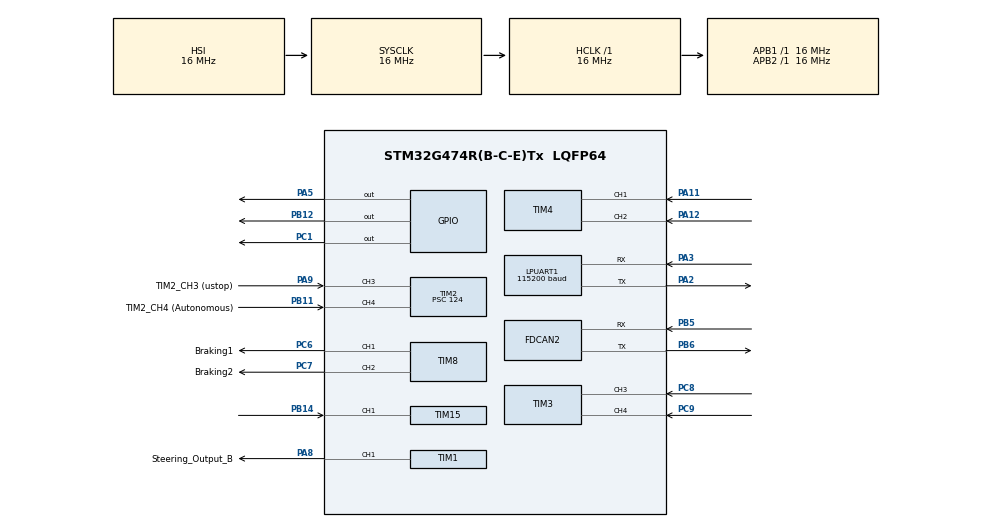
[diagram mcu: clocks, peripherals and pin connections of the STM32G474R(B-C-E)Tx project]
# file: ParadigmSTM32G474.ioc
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FDCAN2.CalculateBaudRateNominal=250000
FDCAN2.CalculateTimeBitNominal=4000
FDCAN2.CalculateTimeQuantumNominal=250.0
FDCAN2.NominalPrescaler=4
FDCAN2.NominalTimeSeg1=13
FDCAN2.NominalTimeSeg2=2
LPUART1.BaudRate=115200
Mcu.Family=STM32G4
Mcu.Name=STM32G474R(B-C-E)Tx
Mcu.Package=LQFP64
NVIC.FDCAN2_IT0_IRQn=true\:0\:0\:false\:false\:true\:true\:true\:true
NVIC.FDCAN2_IT1_IRQn=true\:0\:0\:false\:false\:true\:true\:true\:true
NVIC.LPUART1_IRQn=true\:0\:0\:false\:false\:true\:true\:true\:true
NVIC.PriorityGroup=NVIC_PRIORITYGROUP_4
NVIC.TIM2_IRQn=true\:0\:0\:false\:false\:true\:true\:true\:true
PA11.Signal=S_TIM4_CH1
PA12.Signal=S_TIM4_CH2
PA13.Mode=Serial_Wire
PA13.Signal=SYS_JTMS-SWDIO
PA14.Mode=Serial_Wire
PA14.Signal=SYS_JTCK-SWCLK
PA2.Mode=Asynchronous
PA2.Signal=LPUART1_TX
PA3.Mode=Asynchronous
PA3.Signal=LPUART1_RX
PA5.Signal=GPIO_Output
PA8.GPIO_Label=Steering_Output_B
PA8.Signal=S_TIM1_CH1
PA9.GPIO_Label=TIM2_CH3 (ustop)
PA9.Signal=S_TIM2_CH3
PB11.GPIO_Label=TIM2_CH4 (Autonomous)
PB11.Signal=S_TIM2_CH4
PB12.Signal=GPIO_Output
PB13.Signal=SPI2_SCK
PB14.Signal=S_TIM15_CH1
PB5.Mode=FDCAN_Activate
PB5.Signal=FDCAN2_RX
PB6.Mode=FDCAN_Activate
PB6.Signal=FDCAN2_TX
PC1.Signal=GPIO_Output
PC6.GPIO_Label=Braking1
PC6.Signal=S_TIM8_CH1
PC7.GPIO_Label=Braking2
PC7.Signal=S_TIM8_CH2
PC8.Signal=S_TIM3_CH3
PC9.Signal=S_TIM3_CH4
PF0-OSC_IN.Mode=HSE-External-Oscillator
PF0-OSC_IN.Signal=RCC_OSC_IN
PF1-OSC_OUT.Mode=HSE-External-Oscillator
PF1-OSC_OUT.Signal=RCC_OSC_OUT
ProjectManager.HeapSize=0x200
ProjectManager.StackSize=0x400
ProjectManager.TargetToolchain=STM32CubeIDE
RCC.AHBFreq_Value=16000000
RCC.APB1Freq_Value=16000000
RCC.APB1TimFreq_Value=16000000
RCC.APB2Freq_Value=16000000
RCC.APB2TimFreq_Value=16000000
RCC.CortexFreq_Value=16000000
RCC.EXTERNAL_CLOCK_VALUE=12288000
RCC.HCLKFreq_Value=16000000
RCC.HSE_VALUE=16000000
RCC.HSI48_VALUE=48000000
RCC.HSI_VALUE=16000000
RCC.LSE_VALUE=32768
RCC.SYSCLKFreq_VALUE=16000000
RCC.USBFreq_Value=64000000
RCC.VCOOutputFreq_Value=128000000
SH.S_TIM15_CH1.0=TIM15_CH1,Input_Capture1_from_TI1
SH.S_TIM1_CH1.0=TIM1_CH1,PWM Generation1 CH1
SH.S_TIM2_CH3.0=TIM2_CH3,Input_Capture3_from_TI3
SH.S_TIM2_CH4.0=TIM2_CH4,Input_Capture4_from_TI4
SH.S_TIM3_CH3.0=TIM3_CH3,Input_Capture3_from_TI3
SH.S_TIM3_CH4.0=TIM3_CH4,Input_Capture4_from_TI4
SH.S_TIM4_CH1.0=TIM4_CH1,Input_Capture1_from_TI1
SH.S_TIM4_CH2.0=TIM4_CH2,Input_Capture2_from_TI2
SH.S_TIM8_CH1.0=TIM8_CH1,PWM Generation1 CH1
SH.S_TIM8_CH2.0=TIM8_CH2,PWM Generation2 CH2
TIM1.Channel-PWM\ Generation1\ CH1=TIM_CHANNEL_1
TIM1.Prescaler=15
TIM15.Channel-Input_Capture1_from_TI1=TIM_CHANNEL_1
TIM2.Channel-Input_Capture3_from_TI3=TIM_CHANNEL_3
TIM2.Channel-Input_Capture4_from_TI4=TIM_CHANNEL_4
TIM2.PeriodNoDither=255
TIM2.Prescaler=124
TIM3.Channel-Input_Capture3_from_TI3=TIM_CHANNEL_3
TIM3.Channel-Input_Capture4_from_TI4=TIM_CHANNEL_4
TIM4.Channel-Input_Capture1_from_TI1=TIM_CHANNEL_1
TIM4.Channel-Input_Capture2_from_TI2=TIM_CHANNEL_2
TIM8.Channel-PWM\ Generation1\ CH1=TIM_CHANNEL_1
TIM8.Channel-PWM\ Generation2\ CH2=TIM_CHANNEL_2
VP_SYS_VS_DBSignals.Mode=DisableDeadBatterySignals
VP_TIM1_VS_ClockSourceINT.Mode=Internal
VP_TIM2_VS_ClockSourceINT.Mode=Internal
VP_TIM3_VS_ClockSourceINT.Mode=Internal
VP_TIM4_VS_ClockSourceINT.Mode=Internal
VP_TIM8_VS_ClockSourceINT.Mode=Internal
board=custom

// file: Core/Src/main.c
/* USER CODE BEGIN Header */
/**
  ******************************************************************************
  * @file           : main.c
  * @brief          : Main program body
  ******************************************************************************
  * @attention
  *
  * Copyright (c) 2025 STMicroelectronics.
  * All rights reserved.
  *
  * This software is licensed under terms that can be found in the LICENSE file
  * in the root directory of this software component.
  * If no LICENSE file comes with this software, it is provided AS-IS.
  *
  ******************************************************************************
  */
/* USER CODE END Header */
#include "main.h"

/* USER CODE BEGIN Includes */
#include "uart_test.h"
#include "drive_can.h"
#include "steering.h"
#include "jetson_uart.h"
#include "stdbool.h"
#include "braking.h"
/* USER CODE END Includes */

/* USER CODE BEGIN PM */
#define MAX_RPM 2000

#define MODE_SWITCH_US 1500
/* USER CODE END PM */

FDCAN_HandleTypeDef hfdcan2;

UART_HandleTypeDef hlpuart1;

TIM_HandleTypeDef htim1;
TIM_HandleTypeDef htim2;
TIM_HandleTypeDef htim3;
TIM_HandleTypeDef htim4;
TIM_HandleTypeDef htim8;
TIM_HandleTypeDef htim15;

/* USER CODE BEGIN PV */
/* Latest measured pulse widths — updated in input capture callback */
static volatile uint32_t g_throttle_us    = 1500;  // default = centre
static volatile uint32_t g_estop_us       = 2000;  // default = inactive
static volatile uint32_t g_ustop_us       = 2000; // default = inactive
static volatile uint32_t g_last_pulse_ms  = 0;     // for signal-lost detection
static volatile uint32_t g_mode_us        = 2000;

static volatile uint16_t active_throttle_us = 1500;
static volatile uint16_t active_steering_us = 1500;

/* Rise-edge timestamps and fall-edge flags for each channel */
static volatile uint32_t g_ch3_rise = 0;
static volatile uint32_t g_ch4_rise = 0;
static volatile uint8_t  g_ch3_fall = 0;
static volatile uint8_t  g_ch4_fall = 0;
static volatile uint8_t  g_tim2_ch4_fall = 0;
static volatile uint32_t  g_tim2_ch4_rise = 0;

static volatile uint8_t  g_tim2_ch3_fall = 0;
static volatile uint32_t  g_tim2_ch3_rise = 0;

static int16_t g_target_current = 0;
static int16_t g_target_speed = 0;
static DriveCommand_t g_command = CMD_HALTED;

static volatile uint32_t test_pwm = 0;

extern DriveController_t drive;

static volatile uint32_t loop_count = 0;

static volatile uint32_t tim15_irq_count = 0;

static uint8_t jetson_rx_byte = 0;
static volatile uint16_t g_autonomous_throttle_us = 1500;
static volatile uint16_t g_autonomous_steering_us = 1500;

extern volatile uint32_t rx_frame_count;

static volatile int autonomous;
/* USER CODE END PV */

void SystemClock_Config(void);
static void MX_GPIO_Init(void);
static void MX_FDCAN2_Init(void);
static void MX_TIM1_Init(void);
static void MX_TIM2_Init(void);
static void MX_TIM4_Init(void);
static void MX_TIM3_Init(void);
static void MX_TIM15_Init(void);
static void MX_LPUART1_UART_Init(void);
static void MX_TIM8_Init(void);
/* USER CODE BEGIN PFP */
static bool UpdateJetsonCommands(void);
/* USER CODE END PFP */

int main(void)
{

  /* USER CODE BEGIN 1 */
  SCB->VTOR = 0x08000000; // Remaps vector table to flash so STM doesn't get stuck in loop
  /* USER CODE END 1 */

  /* MCU Configuration--------------------------------------------------------*/

  /* Reset of all peripherals, Initializes the Flash interface and the Systick. */
  HAL_Init();

  /* Configure the system clock */
  SystemClock_Config();

  /* Initialize all configured peripherals */
  MX_GPIO_Init();
  MX_FDCAN2_Init();
  MX_TIM1_Init();
  MX_TIM2_Init();
  MX_TIM4_Init();
  MX_TIM3_Init();
  MX_TIM15_Init();
  MX_LPUART1_UART_Init();
  MX_TIM8_Init();
  /* USER CODE BEGIN 2 */
  //initUART();

  if (!Drive_Init(&hfdcan2, MCU_ADDRESS_DEFAULT)) {
	 Error_Handler();
  }

  HAL_TIM_IC_Start_IT(&htim3, TIM_CHANNEL_3); // throttle
  HAL_TIM_IC_Start_IT(&htim3, TIM_CHANNEL_4); // e-stop
  HAL_TIM_IC_Start_IT(&htim2, TIM_CHANNEL_4); // RC/auto switch
  HAL_TIM_IC_Start_IT(&htim2, TIM_CHANNEL_3); // u-stop
  HAL_TIM_PWM_Start(&htim8, TIM_CHANNEL_1); // brake 1
  HAL_TIM_PWM_Start(&htim8, TIM_CHANNEL_2); // brake 2

  Steering_Init(&htim1, &htim15);

  Jetson_Init();
  HAL_UART_Receive_IT(&hlpuart1, &jetson_rx_byte, 1);

  /* USER CODE END 2 */

  /* Infinite loop */
  /* USER CODE BEGIN WHILE */
  while (1) {

	  if (hfdcan2.Instance->PSR & 0x80) {  // check bus-off bit
		  HAL_FDCAN_Stop(&hfdcan2);
		  HAL_Delay(200);
		  Drive_Init(&hfdcan2, MCU_ADDRESS_DEFAULT);
	  }

	  loop_count++;

	  bool signal_ok = (g_last_pulse_ms > 0) && (HAL_GetTick() - g_last_pulse_ms < 100);
	  bool estopped  = !signal_ok || (g_estop_us > 1500);
	  bool ustopped = g_ustop_us > 1600;
	  HAL_GPIO_WritePin(GPIOB, GPIO_PIN_12, GPIO_PIN_RESET);

	  //bool estopped = false;
	  //(void)g_estop_us; /* suppress unused-variable warning if signal_ok check is disabled */

	  /*bool autonomous_mode = true;

	  bool jetson_ok = UpdateJetsonCommands();

	  uint16_t active_throttle_us = 1500;
	  uint16_t active_steering_us  = 1500;

	  if (autonomous_mode && jetson_ok)
	  {
	      active_throttle_us = g_autonomous_throttle_us;
	      active_steering_us = g_autonomous_steering_us;
	  }
	  else
	  {
	      active_throttle_us = g_throttle_us;
	  }*/

	  //  E-stop or signal lost
	  if (estopped || Drive_GetState() == DRIVE_STATE_COMM_FAILED || Drive_HasError()) {
		  g_target_speed   = DRIVE_ENCODE_SPEED(0.0f);
		  g_target_current = DRIVE_ENCODE_CURRENT(0.0f);
		  g_command = CMD_HALTED;
		  HAL_GPIO_WritePin(GPIOB, GPIO_PIN_12, GPIO_PIN_SET);

		  Drive_Tick(g_target_current, g_target_speed, g_command);
		  Steering_SetTargetUs(1500);
		  Steering_Tick();
		  test_pwm = Steering_GetPulseWidth();
		  Servo_WriteMicroseconds(1, SERVO_APPLIED_US);
		  Servo_WriteMicroseconds(2, SERVO_APPLIED_US);
		  HAL_Delay(10);
		  continue;
	  }

	  // U-stop
	  if (ustopped) {
		  g_target_speed   = DRIVE_ENCODE_SPEED(0.0f);
		  g_target_current = DRIVE_ENCODE_CURRENT(0.0f);
		  g_command = CMD_HALTED;

		  Drive_Tick(g_target_current, g_target_speed, g_command);
		  Steering_SetTargetUs(1500);
		  Steering_Tick();
		  test_pwm = Steering_GetPulseWidth();
		  Servo_WriteMicroseconds(1, SERVO_APPLIED_US);
		  Servo_WriteMicroseconds(2, SERVO_APPLIED_US);
		  HAL_Delay(10);
		  continue;
	  }

	  // Autonomous operation
	  if (g_mode_us > MODE_SWITCH_US) {
		  autonomous = 1;
		  bool jetson_ok = UpdateJetsonCommands();
			  if (jetson_ok) {
				  active_throttle_us = g_autonomous_throttle_us;
				  active_steering_us = g_autonomous_steering_us;
				  Steering_SetTargetUs(active_steering_us);
			  } else {
				  active_throttle_us = 1500;
				  active_steering_us = g_autonomous_steering_us;
				  Steering_SetTargetUs(active_steering_us);
			  }
	  } else {
		  autonomous = 0;
		  active_throttle_us = (uint16_t)g_throttle_us;
	  }

	  /*bool autonomous_mode = (g_mode_us > MODE_SWITCH_LOW_US);

	  if (autonomous_mode) {
		  bool jetson_ok = UpdateJetsonCommands();
		  if (jetson_ok) {
			  active_throttle_us = g_autonomous_throttle_us;
			  active_steering_us = g_autonomous_steering_us;
		  }
	  } else {
		  active_throttle_us = (uint16_t)g_throttle_us;
		  active_steering_us = Steering_GetPulseWidth();
	  }*/

	  // Normal operation
	  if (Drive_GetState() == DRIVE_STATE_OPERATIONAL) {

		  // Map 1000-2000µs to -1000..+1000 rpm with ±50µs deadband
		  int32_t deviation = (int32_t)active_throttle_us - 1500;
		  int32_t target = 0;

		  if (deviation > 100)
			  target = ((deviation - 100) * MAX_RPM) / 400;
		  else if (deviation < -100)
			  target = ((deviation + 100) * MAX_RPM) / 400;

		  if (target >  MAX_RPM) { target =  MAX_RPM; }
		  if (target < -MAX_RPM) { target = -MAX_RPM; }

		  if (target >= 0) {
			  g_target_speed   = DRIVE_ENCODE_SPEED((float)target);
			  g_target_current = DRIVE_ENCODE_CURRENT(80.0f);
		  } else {
			  g_target_speed   = DRIVE_ENCODE_SPEED((float)target);
			  g_target_current = DRIVE_ENCODE_CURRENT(-80.0f);
		  }

		  g_command = CMD_RUNNING | CMD_SPEED_MODE;
	  }

	  Drive_Tick(g_target_current, g_target_speed, g_command);

	  //Steering
	  /*if (autonomous == 1) {
		  Steering_SetTargetUs(active_steering_us);
	  }*/
	  Steering_Tick();
	  test_pwm = Steering_GetPulseWidth();

	  Servo_WriteMicroseconds(1, SERVO_UPRIGHT_US);
	  Servo_WriteMicroseconds(2, SERVO_UPRIGHT_US);

	  HAL_Delay(10);

  }
    /* USER CODE END WHILE */

}

void SystemClock_Config(void)
{
  RCC_OscInitTypeDef RCC_OscInitStruct = {0};
  RCC_ClkInitTypeDef RCC_ClkInitStruct = {0};

  /** Configure the main internal regulator output voltage
  */
  HAL_PWREx_ControlVoltageScaling(PWR_REGULATOR_VOLTAGE_SCALE1);

  /** Initializes the RCC Oscillators according to the specified parameters
  * in the RCC_OscInitTypeDef structure.
  */
  RCC_OscInitStruct.OscillatorType = RCC_OSCILLATORTYPE_HSI;
  RCC_OscInitStruct.HSIState = RCC_HSI_ON;
  RCC_OscInitStruct.HSICalibrationValue = RCC_HSICALIBRATION_DEFAULT;
  RCC_OscInitStruct.PLL.PLLState = RCC_PLL_NONE;
  if (HAL_RCC_OscConfig(&RCC_OscInitStruct) != HAL_OK)
  {
    Error_Handler();
  }

  /** Initializes the CPU, AHB and APB buses clocks
  */
  RCC_ClkInitStruct.ClockType = RCC_CLOCKTYPE_HCLK|RCC_CLOCKTYPE_SYSCLK
                              |RCC_CLOCKTYPE_PCLK1|RCC_CLOCKTYPE_PCLK2;
  RCC_ClkInitStruct.SYSCLKSource = RCC_SYSCLKSOURCE_HSI;
  RCC_ClkInitStruct.AHBCLKDivider = RCC_SYSCLK_DIV1;
  RCC_ClkInitStruct.APB1CLKDivider = RCC_HCLK_DIV1;
  RCC_ClkInitStruct.APB2CLKDivider = RCC_HCLK_DIV1;

  if (HAL_RCC_ClockConfig(&RCC_ClkInitStruct, FLASH_LATENCY_0) != HAL_OK)
  {
    Error_Handler();
  }
}

static void MX_FDCAN2_Init(void)
{

  hfdcan2.Instance = FDCAN2;
  hfdcan2.Init.ClockDivider = FDCAN_CLOCK_DIV1;
  hfdcan2.Init.FrameFormat = FDCAN_FRAME_CLASSIC;
  hfdcan2.Init.Mode = FDCAN_MODE_NORMAL;
  hfdcan2.Init.AutoRetransmission = DISABLE;
  hfdcan2.Init.TransmitPause = DISABLE;
  hfdcan2.Init.ProtocolException = DISABLE;
  hfdcan2.Init.NominalPrescaler = 4;
  hfdcan2.Init.NominalSyncJumpWidth = 1;
  hfdcan2.Init.NominalTimeSeg1 = 13;
  hfdcan2.Init.NominalTimeSeg2 = 2;
  hfdcan2.Init.DataPrescaler = 1;
  hfdcan2.Init.DataSyncJumpWidth = 1;
  hfdcan2.Init.DataTimeSeg1 = 1;
  hfdcan2.Init.DataTimeSeg2 = 1;
  hfdcan2.Init.StdFiltersNbr = 0;
  hfdcan2.Init.ExtFiltersNbr = 0;
  hfdcan2.Init.TxFifoQueueMode = FDCAN_TX_FIFO_OPERATION;
  if (HAL_FDCAN_Init(&hfdcan2) != HAL_OK)
  {
    Error_Handler();
  }

}

static void MX_LPUART1_UART_Init(void)
{

  hlpuart1.Instance = LPUART1;
  hlpuart1.Init.BaudRate = 115200;
  hlpuart1.Init.WordLength = UART_WORDLENGTH_8B;
  hlpuart1.Init.StopBits = UART_STOPBITS_1;
  hlpuart1.Init.Parity = UART_PARITY_NONE;
  hlpuart1.Init.Mode = UART_MODE_TX_RX;
  hlpuart1.Init.HwFlowCtl = UART_HWCONTROL_NONE;
  hlpuart1.Init.OneBitSampling = UART_ONE_BIT_SAMPLE_DISABLE;
  hlpuart1.Init.ClockPrescaler = UART_PRESCALER_DIV1;
  hlpuart1.AdvancedInit.AdvFeatureInit = UART_ADVFEATURE_NO_INIT;
  if (HAL_UART_Init(&hlpuart1) != HAL_OK)
  {
    Error_Handler();
  }
  if (HAL_UARTEx_SetTxFifoThreshold(&hlpuart1, UART_TXFIFO_THRESHOLD_1_8) != HAL_OK)
  {
    Error_Handler();
  }
  if (HAL_UARTEx_SetRxFifoThreshold(&hlpuart1, UART_RXFIFO_THRESHOLD_1_8) != HAL_OK)
  {
    Error_Handler();
  }
  if (HAL_UARTEx_DisableFifoMode(&hlpuart1) != HAL_OK)
  {
    Error_Handler();
  }

}

static void MX_TIM1_Init(void)
{

  TIM_ClockConfigTypeDef sClockSourceConfig = {0};
  TIM_MasterConfigTypeDef sMasterConfig = {0};
  TIM_OC_InitTypeDef sConfigOC = {0};
  TIM_BreakDeadTimeConfigTypeDef sBreakDeadTimeConfig = {0};

  htim1.Instance = TIM1;
  htim1.Init.Prescaler = 15;
  htim1.Init.CounterMode = TIM_COUNTERMODE_UP;
  htim1.Init.Period = 65535;
  htim1.Init.ClockDivision = TIM_CLOCKDIVISION_DIV1;
  htim1.Init.RepetitionCounter = 0;
  htim1.Init.AutoReloadPreload = TIM_AUTORELOAD_PRELOAD_DISABLE;
  if (HAL_TIM_Base_Init(&htim1) != HAL_OK)
  {
    Error_Handler();
  }
  sClockSourceConfig.ClockSource = TIM_CLOCKSOURCE_INTERNAL;
  if (HAL_TIM_ConfigClockSource(&htim1, &sClockSourceConfig) != HAL_OK)
  {
    Error_Handler();
  }
  if (HAL_TIM_PWM_Init(&htim1) != HAL_OK)
  {
    Error_Handler();
  }
  sMasterConfig.MasterOutputTrigger = TIM_TRGO_RESET;
  sMasterConfig.MasterOutputTrigger2 = TIM_TRGO2_RESET;
  sMasterConfig.MasterSlaveMode = TIM_MASTERSLAVEMODE_DISABLE;
  if (HAL_TIMEx_MasterConfigSynchronization(&htim1, &sMasterConfig) != HAL_OK)
  {
    Error_Handler();
  }
  sConfigOC.OCMode = TIM_OCMODE_PWM1;
  sConfigOC.Pulse = 0;
  sConfigOC.OCPolarity = TIM_OCPOLARITY_HIGH;
  sConfigOC.OCNPolarity = TIM_OCNPOLARITY_HIGH;
  sConfigOC.OCFastMode = TIM_OCFAST_DISABLE;
  sConfigOC.OCIdleState = TIM_OCIDLESTATE_RESET;
  sConfigOC.OCNIdleState = TIM_OCNIDLESTATE_RESET;
  if (HAL_TIM_PWM_ConfigChannel(&htim1, &sConfigOC, TIM_CHANNEL_1) != HAL_OK)
  {
    Error_Handler();
  }
  sBreakDeadTimeConfig.OffStateRunMode = TIM_OSSR_DISABLE;
  sBreakDeadTimeConfig.OffStateIDLEMode = TIM_OSSI_DISABLE;
  sBreakDeadTimeConfig.LockLevel = TIM_LOCKLEVEL_OFF;
  sBreakDeadTimeConfig.DeadTime = 0;
  sBreakDeadTimeConfig.BreakState = TIM_BREAK_DISABLE;
  sBreakDeadTimeConfig.BreakPolarity = TIM_BREAKPOLARITY_HIGH;
  sBreakDeadTimeConfig.BreakFilter = 0;
  sBreakDeadTimeConfig.BreakAFMode = TIM_BREAK_AFMODE_INPUT;
  sBreakDeadTimeConfig.Break2State = TIM_BREAK2_DISABLE;
  sBreakDeadTimeConfig.Break2Polarity = TIM_BREAK2POLARITY_HIGH;
  sBreakDeadTimeConfig.Break2Filter = 0;
  sBreakDeadTimeConfig.Break2AFMode = TIM_BREAK_AFMODE_INPUT;
  sBreakDeadTimeConfig.AutomaticOutput = TIM_AUTOMATICOUTPUT_DISABLE;
  if (HAL_TIMEx_ConfigBreakDeadTime(&htim1, &sBreakDeadTimeConfig) != HAL_OK)
  {
    Error_Handler();
  }
  /* USER CODE BEGIN TIM1_Init 2 */
  HAL_NVIC_SetPriority(TIM1_CC_IRQn, 1, 0);
  HAL_NVIC_EnableIRQ(TIM1_CC_IRQn);
  /* USER CODE END TIM1_Init 2 */
  HAL_TIM_MspPostInit(&htim1);

}

static void MX_TIM2_Init(void)
{

  TIM_ClockConfigTypeDef sClockSourceConfig = {0};
  TIM_MasterConfigTypeDef sMasterConfig = {0};
  TIM_IC_InitTypeDef sConfigIC = {0};

  htim2.Instance = TIM2;
  htim2.Init.Prescaler = 124;
  htim2.Init.CounterMode = TIM_COUNTERMODE_UP;
  htim2.Init.Period = 65535;
  htim2.Init.ClockDivision = TIM_CLOCKDIVISION_DIV1;
  htim2.Init.AutoReloadPreload = TIM_AUTORELOAD_PRELOAD_DISABLE;
  if (HAL_TIM_Base_Init(&htim2) != HAL_OK)
  {
    Error_Handler();
  }
  sClockSourceConfig.ClockSource = TIM_CLOCKSOURCE_INTERNAL;
  if (HAL_TIM_ConfigClockSource(&htim2, &sClockSourceConfig) != HAL_OK)
  {
    Error_Handler();
  }
  if (HAL_TIM_IC_Init(&htim2) != HAL_OK)
  {
    Error_Handler();
  }
  sMasterConfig.MasterOutputTrigger = TIM_TRGO_RESET;
  sMasterConfig.MasterSlaveMode = TIM_MASTERSLAVEMODE_DISABLE;
  if (HAL_TIMEx_MasterConfigSynchronization(&htim2, &sMasterConfig) != HAL_OK)
  {
    Error_Handler();
  }
  sConfigIC.ICPolarity = TIM_INPUTCHANNELPOLARITY_RISING;
  sConfigIC.ICSelection = TIM_ICSELECTION_DIRECTTI;
  sConfigIC.ICPrescaler = TIM_ICPSC_DIV1;
  sConfigIC.ICFilter = 0;
  if (HAL_TIM_IC_ConfigChannel(&htim2, &sConfigIC, TIM_CHANNEL_3) != HAL_OK)
  {
    Error_Handler();
  }
  if (HAL_TIM_IC_ConfigChannel(&htim2, &sConfigIC, TIM_CHANNEL_4) != HAL_OK)
  {
    Error_Handler();
  }
  /* USER CODE BEGIN TIM2_Init 2 */
  HAL_NVIC_SetPriority(TIM2_IRQn, 1, 0);
  HAL_NVIC_EnableIRQ(TIM2_IRQn);
  /* USER CODE END TIM2_Init 2 */

}

static void MX_TIM3_Init(void)
{

  TIM_ClockConfigTypeDef sClockSourceConfig = {0};
  TIM_MasterConfigTypeDef sMasterConfig = {0};
  TIM_IC_InitTypeDef sConfigIC = {0};

  htim3.Instance = TIM3;
  htim3.Init.Prescaler = 0;
  htim3.Init.CounterMode = TIM_COUNTERMODE_UP;
  htim3.Init.Period = 65535;
  htim3.Init.ClockDivision = TIM_CLOCKDIVISION_DIV1;
  htim3.Init.AutoReloadPreload = TIM_AUTORELOAD_PRELOAD_DISABLE;
  if (HAL_TIM_Base_Init(&htim3) != HAL_OK)
  {
    Error_Handler();
  }
  sClockSourceConfig.ClockSource = TIM_CLOCKSOURCE_INTERNAL;
  if (HAL_TIM_ConfigClockSource(&htim3, &sClockSourceConfig) != HAL_OK)
  {
    Error_Handler();
  }
  if (HAL_TIM_IC_Init(&htim3) != HAL_OK)
  {
    Error_Handler();
  }
  sMasterConfig.MasterOutputTrigger = TIM_TRGO_RESET;
  sMasterConfig.MasterSlaveMode = TIM_MASTERSLAVEMODE_DISABLE;
  if (HAL_TIMEx_MasterConfigSynchronization(&htim3, &sMasterConfig) != HAL_OK)
  {
    Error_Handler();
  }
  sConfigIC.ICPolarity = TIM_INPUTCHANNELPOLARITY_RISING;
  sConfigIC.ICSelection = TIM_ICSELECTION_DIRECTTI;
  sConfigIC.ICPrescaler = TIM_ICPSC_DIV1;
  sConfigIC.ICFilter = 0;
  if (HAL_TIM_IC_ConfigChannel(&htim3, &sConfigIC, TIM_CHANNEL_3) != HAL_OK)
  {
    Error_Handler();
  }
  if (HAL_TIM_IC_ConfigChannel(&htim3, &sConfigIC, TIM_CHANNEL_4) != HAL_OK)
  {
    Error_Handler();
  }
  /* USER CODE BEGIN TIM3_Init 2 */
  HAL_NVIC_SetPriority(TIM3_IRQn, 1, 0);
  HAL_NVIC_EnableIRQ(TIM3_IRQn);
  /* USER CODE END TIM3_Init 2 */

}

static void MX_TIM4_Init(void)
{

  TIM_ClockConfigTypeDef sClockSourceConfig = {0};
  TIM_MasterConfigTypeDef sMasterConfig = {0};
  TIM_IC_InitTypeDef sConfigIC = {0};

  htim4.Instance = TIM4;
  htim4.Init.Prescaler = 0;
  htim4.Init.CounterMode = TIM_COUNTERMODE_UP;
  htim4.Init.Period = 65535;
  htim4.Init.ClockDivision = TIM_CLOCKDIVISION_DIV1;
  htim4.Init.AutoReloadPreload = TIM_AUTORELOAD_PRELOAD_DISABLE;
  if (HAL_TIM_Base_Init(&htim4) != HAL_OK)
  {
    Error_Handler();
  }
  sClockSourceConfig.ClockSource = TIM_CLOCKSOURCE_INTERNAL;
  if (HAL_TIM_ConfigClockSource(&htim4, &sClockSourceConfig) != HAL_OK)
  {
    Error_Handler();
  }
  if (HAL_TIM_IC_Init(&htim4) != HAL_OK)
  {
    Error_Handler();
  }
  sMasterConfig.MasterOutputTrigger = TIM_TRGO_RESET;
  sMasterConfig.MasterSlaveMode = TIM_MASTERSLAVEMODE_DISABLE;
  if (HAL_TIMEx_MasterConfigSynchronization(&htim4, &sMasterConfig) != HAL_OK)
  {
    Error_Handler();
  }
  sConfigIC.ICPolarity = TIM_INPUTCHANNELPOLARITY_RISING;
  sConfigIC.ICSelection = TIM_ICSELECTION_DIRECTTI;
  sConfigIC.ICPrescaler = TIM_ICPSC_DIV1;
  sConfigIC.ICFilter = 0;
  if (HAL_TIM_IC_ConfigChannel(&htim4, &sConfigIC, TIM_CHANNEL_1) != HAL_OK)
  {
    Error_Handler();
  }
  if (HAL_TIM_IC_ConfigChannel(&htim4, &sConfigIC, TIM_CHANNEL_2) != HAL_OK)
  {
    Error_Handler();
  }
  /* USER CODE BEGIN TIM4_Init 2 */
  HAL_NVIC_SetPriority(TIM4_IRQn, 1, 0);
  HAL_NVIC_EnableIRQ(TIM4_IRQn);
  /* USER CODE END TIM4_Init 2 */

}

static void MX_TIM8_Init(void)
{

  TIM_ClockConfigTypeDef sClockSourceConfig = {0};
  TIM_MasterConfigTypeDef sMasterConfig = {0};
  TIM_OC_InitTypeDef sConfigOC = {0};
  TIM_BreakDeadTimeConfigTypeDef sBreakDeadTimeConfig = {0};

  htim8.Instance = TIM8;
  htim8.Init.Prescaler = 0;
  htim8.Init.CounterMode = TIM_COUNTERMODE_UP;
  htim8.Init.Period = 65535;
  htim8.Init.ClockDivision = TIM_CLOCKDIVISION_DIV1;
  htim8.Init.RepetitionCounter = 0;
  htim8.Init.AutoReloadPreload = TIM_AUTORELOAD_PRELOAD_DISABLE;
  if (HAL_TIM_Base_Init(&htim8) != HAL_OK)
  {
    Error_Handler();
  }
  sClockSourceConfig.ClockSource = TIM_CLOCKSOURCE_INTERNAL;
  if (HAL_TIM_ConfigClockSource(&htim8, &sClockSourceConfig) != HAL_OK)
  {
    Error_Handler();
  }
  if (HAL_TIM_PWM_Init(&htim8) != HAL_OK)
  {
    Error_Handler();
  }
  sMasterConfig.MasterOutputTrigger = TIM_TRGO_RESET;
  sMasterConfig.MasterOutputTrigger2 = TIM_TRGO2_RESET;
  sMasterConfig.MasterSlaveMode = TIM_MASTERSLAVEMODE_DISABLE;
  if (HAL_TIMEx_MasterConfigSynchronization(&htim8, &sMasterConfig) != HAL_OK)
  {
    Error_Handler();
  }
  sConfigOC.OCMode = TIM_OCMODE_PWM1;
  sConfigOC.Pulse = 0;
  sConfigOC.OCPolarity = TIM_OCPOLARITY_HIGH;
  sConfigOC.OCNPolarity = TIM_OCNPOLARITY_HIGH;
  sConfigOC.OCFastMode = TIM_OCFAST_DISABLE;
  sConfigOC.OCIdleState = TIM_OCIDLESTATE_RESET;
  sConfigOC.OCNIdleState = TIM_OCNIDLESTATE_RESET;
  if (HAL_TIM_PWM_ConfigChannel(&htim8, &sConfigOC, TIM_CHANNEL_1) != HAL_OK)
  {
    Error_Handler();
  }
  if (HAL_TIM_PWM_ConfigChannel(&htim8, &sConfigOC, TIM_CHANNEL_2) != HAL_OK)
  {
    Error_Handler();
  }
  sBreakDeadTimeConfig.OffStateRunMode = TIM_OSSR_DISABLE;
  sBreakDeadTimeConfig.OffStateIDLEMode = TIM_OSSI_DISABLE;
  sBreakDeadTimeConfig.LockLevel = TIM_LOCKLEVEL_OFF;
  sBreakDeadTimeConfig.DeadTime = 0;
  sBreakDeadTimeConfig.BreakState = TIM_BREAK_DISABLE;
  sBreakDeadTimeConfig.BreakPolarity = TIM_BREAKPOLARITY_HIGH;
  sBreakDeadTimeConfig.BreakFilter = 0;
  sBreakDeadTimeConfig.BreakAFMode = TIM_BREAK_AFMODE_INPUT;
  sBreakDeadTimeConfig.Break2State = TIM_BREAK2_DISABLE;
  sBreakDeadTimeConfig.Break2Polarity = TIM_BREAK2POLARITY_HIGH;
  sBreakDeadTimeConfig.Break2Filter = 0;
  sBreakDeadTimeConfig.Break2AFMode = TIM_BREAK_AFMODE_INPUT;
  sBreakDeadTimeConfig.AutomaticOutput = TIM_AUTOMATICOUTPUT_DISABLE;
  if (HAL_TIMEx_ConfigBreakDeadTime(&htim8, &sBreakDeadTimeConfig) != HAL_OK)
  {
    Error_Handler();
  }
  HAL_TIM_MspPostInit(&htim8);

}

static void MX_TIM15_Init(void)
{

  TIM_MasterConfigTypeDef sMasterConfig = {0};
  TIM_IC_InitTypeDef sConfigIC = {0};

  htim15.Instance = TIM15;
  htim15.Init.Prescaler = 0;
  htim15.Init.CounterMode = TIM_COUNTERMODE_UP;
  htim15.Init.Period = 65535;
  htim15.Init.ClockDivision = TIM_CLOCKDIVISION_DIV1;
  htim15.Init.RepetitionCounter = 0;
  htim15.Init.AutoReloadPreload = TIM_AUTORELOAD_PRELOAD_DISABLE;
  if (HAL_TIM_IC_Init(&htim15) != HAL_OK)
  {
    Error_Handler();
  }
  sMasterConfig.MasterOutputTrigger = TIM_TRGO_RESET;
  sMasterConfig.MasterSlaveMode = TIM_MASTERSLAVEMODE_DISABLE;
  if (HAL_TIMEx_MasterConfigSynchronization(&htim15, &sMasterConfig) != HAL_OK)
  {
    Error_Handler();
  }
  sConfigIC.ICPolarity = TIM_INPUTCHANNELPOLARITY_RISING;
  sConfigIC.ICSelection = TIM_ICSELECTION_DIRECTTI;
  sConfigIC.ICPrescaler = TIM_ICPSC_DIV1;
  sConfigIC.ICFilter = 0;
  if (HAL_TIM_IC_ConfigChannel(&htim15, &sConfigIC, TIM_CHANNEL_1) != HAL_OK)
  {
    Error_Handler();
  }
  /* USER CODE BEGIN TIM15_Init 2 */
  HAL_NVIC_SetPriority(TIM1_BRK_TIM15_IRQn, 2, 0);
  HAL_NVIC_EnableIRQ(TIM1_BRK_TIM15_IRQn);
  /* USER CODE END TIM15_Init 2 */

}

static void MX_GPIO_Init(void)
{
  GPIO_InitTypeDef GPIO_InitStruct = {0};

  /* GPIO Ports Clock Enable */
  __HAL_RCC_GPIOF_CLK_ENABLE();
  __HAL_RCC_GPIOC_CLK_ENABLE();
  __HAL_RCC_GPIOA_CLK_ENABLE();
  __HAL_RCC_GPIOB_CLK_ENABLE();

  /*Configure GPIO pin Output Level */
  HAL_GPIO_WritePin(GPIOC, GPIO_PIN_1, GPIO_PIN_RESET);

  /*Configure GPIO pin Output Level */
  HAL_GPIO_WritePin(GPIOA, GPIO_PIN_5, GPIO_PIN_RESET);

  /*Configure GPIO pin Output Level */
  HAL_GPIO_WritePin(GPIOB, GPIO_PIN_12, GPIO_PIN_RESET);

  /*Configure GPIO pin : PC1 */
  GPIO_InitStruct.Pin = GPIO_PIN_1;
  GPIO_InitStruct.Mode = GPIO_MODE_OUTPUT_PP;
  GPIO_InitStruct.Pull = GPIO_NOPULL;
  GPIO_InitStruct.Speed = GPIO_SPEED_FREQ_LOW;
  HAL_GPIO_Init(GPIOC, &GPIO_InitStruct);

  /*Configure GPIO pin : PA5 */
  GPIO_InitStruct.Pin = GPIO_PIN_5;
  GPIO_InitStruct.Mode = GPIO_MODE_OUTPUT_PP;
  GPIO_InitStruct.Pull = GPIO_NOPULL;
  GPIO_InitStruct.Speed = GPIO_SPEED_FREQ_LOW;
  HAL_GPIO_Init(GPIOA, &GPIO_InitStruct);

  /*Configure GPIO pin : PB12 */
  GPIO_InitStruct.Pin = GPIO_PIN_12;
  GPIO_InitStruct.Mode = GPIO_MODE_OUTPUT_PP;
  GPIO_InitStruct.Pull = GPIO_NOPULL;
  GPIO_InitStruct.Speed = GPIO_SPEED_FREQ_LOW;
  HAL_GPIO_Init(GPIOB, &GPIO_InitStruct);

  /*Configure GPIO pin : PB13 */
  GPIO_InitStruct.Pin = GPIO_PIN_13;
  GPIO_InitStruct.Mode = GPIO_MODE_AF_PP;
  GPIO_InitStruct.Pull = GPIO_NOPULL;
  GPIO_InitStruct.Speed = GPIO_SPEED_FREQ_LOW;
  GPIO_InitStruct.Alternate = GPIO_AF5_SPI2;
  HAL_GPIO_Init(GPIOB, &GPIO_InitStruct);

  /* USER CODE BEGIN MX_GPIO_Init_2 */

  /* PB14: TIM15 CH1 steering input */
   GPIO_InitStruct.Pin       = GPIO_PIN_14;
   GPIO_InitStruct.Mode      = GPIO_MODE_AF_PP;
   GPIO_InitStruct.Pull      = GPIO_PULLDOWN;
   GPIO_InitStruct.Speed     = GPIO_SPEED_FREQ_LOW;
   GPIO_InitStruct.Alternate = GPIO_AF3_TIM15;
   HAL_GPIO_Init(GPIOB, &GPIO_InitStruct);

   /* PC0: TIM1 CH1 steering PWM output */
   GPIO_InitStruct.Pin       = GPIO_PIN_0;
   GPIO_InitStruct.Mode      = GPIO_MODE_AF_PP;
   GPIO_InitStruct.Pull      = GPIO_NOPULL;
   GPIO_InitStruct.Speed     = GPIO_SPEED_FREQ_LOW;
   GPIO_InitStruct.Alternate = GPIO_AF2_TIM1;
   HAL_GPIO_Init(GPIOC, &GPIO_InitStruct);

   /* PC8: TIM3 CH3 throttle   PC9: TIM3 CH4 e-stop */
   /* FIX: STM32G474 uses GPIO_AF2_TIM4, not GPIO_AF6_TIM4 */
   GPIO_InitStruct.Pin       = GPIO_PIN_8 | GPIO_PIN_9;
   GPIO_InitStruct.Mode      = GPIO_MODE_AF_PP;
   GPIO_InitStruct.Pull      = GPIO_PULLDOWN;
   GPIO_InitStruct.Speed     = GPIO_SPEED_FREQ_LOW;
   GPIO_InitStruct.Alternate = GPIO_AF2_TIM3;
   HAL_GPIO_Init(GPIOC, &GPIO_InitStruct);

   /* PB5: FDCAN2 RX, PB6: FDCAN2 TX */
   GPIO_InitStruct.Pin       = GPIO_PIN_5 | GPIO_PIN_6;
   GPIO_InitStruct.Mode      = GPIO_MODE_AF_PP;
   GPIO_InitStruct.Pull      = GPIO_NOPULL;
   GPIO_InitStruct.Speed     = GPIO_SPEED_FREQ_HIGH;
   GPIO_InitStruct.Alternate = GPIO_AF9_FDCAN2;
   HAL_GPIO_Init(GPIOB, &GPIO_InitStruct);

   /* PB11: TIM2 CH4 mode switch input */
   GPIO_InitStruct.Pin       = GPIO_PIN_11;
   GPIO_InitStruct.Mode      = GPIO_MODE_AF_PP;
   GPIO_InitStruct.Pull      = GPIO_PULLDOWN;
   GPIO_InitStruct.Speed     = GPIO_SPEED_FREQ_LOW;
   GPIO_InitStruct.Alternate = GPIO_AF1_TIM2;
   HAL_GPIO_Init(GPIOB, &GPIO_InitStruct);

   /* PA9: TIM2 CH3 urgent stop input */
   GPIO_InitStruct.Pin       = GPIO_PIN_9;
   GPIO_InitStruct.Mode      = GPIO_MODE_AF_PP;
   GPIO_InitStruct.Pull      = GPIO_PULLDOWN;
   GPIO_InitStruct.Speed     = GPIO_SPEED_FREQ_LOW;
   GPIO_InitStruct.Alternate = GPIO_AF1_TIM2;
   HAL_GPIO_Init(GPIOA, &GPIO_InitStruct);

  /* USER CODE END MX_GPIO_Init_2 */
}

/* USER CODE BEGIN 4 */
void HAL_FDCAN_RxFifo0Callback(FDCAN_HandleTypeDef *hfdcan, uint32_t RxFifo0ITs) {
    FDCAN_RxHeaderTypeDef hdr;
    uint8_t data[8];
    HAL_FDCAN_GetRxMessage(hfdcan, FDCAN_RX_FIFO0, &hdr, data);
    Drive_ProcessRx(&hdr, data);
}

void HAL_FDCAN_RxFifo1Callback(FDCAN_HandleTypeDef *hfdcan, uint32_t RxFifo1ITs) {
    FDCAN_RxHeaderTypeDef hdr;
    uint8_t data[8];
    HAL_FDCAN_GetRxMessage(hfdcan, FDCAN_RX_FIFO1, &hdr, data);
    Drive_ProcessRx(&hdr, data);
}

void HAL_TIM_IC_CaptureCallback(TIM_HandleTypeDef *htim)
{

    /* ── TIM3: Throttle (CH3) and E-stop (CH4) ──────────────────────────── */
    if (htim->Instance == TIM3)
    {
        uint32_t now = HAL_GetTick();

        /* --- E-stop: Channel 4 --- */
        if (htim->Channel == HAL_TIM_ACTIVE_CHANNEL_4)
        {
            if (g_ch4_fall == 0)
            {
                /* Rising edge — record start */
                g_ch4_rise = HAL_TIM_ReadCapturedValue(htim, TIM_CHANNEL_4);
                __HAL_TIM_SET_CAPTUREPOLARITY(htim, TIM_CHANNEL_4,
                                              TIM_INPUTCHANNELPOLARITY_FALLING);
                g_ch4_fall = 1;
            }
            else
            {
                /* Falling edge — measure width */
                uint32_t end   = HAL_TIM_ReadCapturedValue(htim, TIM_CHANNEL_4);
                uint32_t width = (end >= g_ch4_rise)
                                 ? (end - g_ch4_rise)
                                 : (65535 - g_ch4_rise + end + 1); /* overflow safe */

                /* TIM4 prescaler=0, 16MHz clock → 1 tick = 62.5ns
                   Convert ticks to microseconds: divide by 16 */
                g_estop_us      = width / 16;
                g_last_pulse_ms = now;

                __HAL_TIM_SET_CAPTUREPOLARITY(htim, TIM_CHANNEL_4,
                                              TIM_INPUTCHANNELPOLARITY_RISING);
                g_ch4_fall = 0;
            }
        }

        /* --- Throttle: Channel 3 --- */
        if (htim->Channel == HAL_TIM_ACTIVE_CHANNEL_3)
        {
            if (g_ch3_fall == 0)
            {
                g_ch3_rise = HAL_TIM_ReadCapturedValue(htim, TIM_CHANNEL_3);
                __HAL_TIM_SET_CAPTUREPOLARITY(htim, TIM_CHANNEL_3,
                                              TIM_INPUTCHANNELPOLARITY_FALLING);
                g_ch3_fall = 1;
            }
            else
            {
                uint32_t end   = HAL_TIM_ReadCapturedValue(htim, TIM_CHANNEL_3);
                uint32_t width = (end >= g_ch3_rise)
                                 ? (end - g_ch3_rise)
                                 : (65535 - g_ch3_rise + end + 1);

                g_throttle_us = width / 16;
                g_last_pulse_ms = now;

                __HAL_TIM_SET_CAPTUREPOLARITY(htim, TIM_CHANNEL_3,
                                              TIM_INPUTCHANNELPOLARITY_RISING);
                g_ch3_fall = 0;
            }
        }
    } /* end if (htim->Instance == TIM4) */   /* <-- FIX: this closing brace was missing */

    /* ── TIM15: Steering input ───────────────────────────────────────────── */
    if (htim->Instance == TIM15)
    {

    	tim15_irq_count++;

        if (htim->Channel == HAL_TIM_ACTIVE_CHANNEL_1)
        {
            SteeringController_t *s = Steering_GetHandle();
            if (s->input_edge == 0)
            {
                /* Rising edge */
                s->input_start = HAL_TIM_ReadCapturedValue(htim, TIM_CHANNEL_1);
                __HAL_TIM_SET_CAPTUREPOLARITY(htim, TIM_CHANNEL_1,
                                              TIM_INPUTCHANNELPOLARITY_FALLING);
                s->input_edge = 1;
            }
            else
            {
                /* Falling edge */
                uint32_t end = HAL_TIM_ReadCapturedValue(htim, TIM_CHANNEL_1);
                uint32_t width = (end >= s->input_start)
                                    ? (end - s->input_start)
                                    : (65535 - s->input_start + end + 1);
                s->input_width_us = width / 16;
                __disable_irq();
                __HAL_TIM_SET_CAPTUREPOLARITY(htim, TIM_CHANNEL_1, TIM_INPUTCHANNELPOLARITY_RISING);
                s->input_edge = 0;
                __enable_irq();
            }
        }
    }

    // TIM2
    if (htim->Instance == TIM2) {

    	uint32_t now = HAL_GetTick();
        	// CH4: RC/Autonomous mdoe switch
            if (htim->Channel == HAL_TIM_ACTIVE_CHANNEL_4) {
                if (g_tim2_ch4_fall == 0) {
                    /* Rising edge — record counter value */
                    g_tim2_ch4_rise = HAL_TIM_ReadCapturedValue(htim, TIM_CHANNEL_4);
                    __HAL_TIM_SET_CAPTUREPOLARITY(htim, TIM_CHANNEL_4,
                                                  TIM_INPUTCHANNELPOLARITY_FALLING);
                    g_tim2_ch4_fall = 1;
                } else {
                    /* Falling edge — compute pulse width */
                    uint32_t end   = HAL_TIM_ReadCapturedValue(htim, TIM_CHANNEL_4);
                    uint32_t width = (end >= g_tim2_ch4_rise)
                                     ? (end - g_tim2_ch4_rise)
                                     : (65535 - g_tim2_ch4_rise + end + 1);

                    /* TIM2 prescaler=124, 16 MHz → tick = 8 µs — NO divide needed */
                    g_mode_us = (width * 125) / 16;

                    __disable_irq();
                    __HAL_TIM_SET_CAPTUREPOLARITY(htim, TIM_CHANNEL_4,
                                                  TIM_INPUTCHANNELPOLARITY_RISING);
                    g_tim2_ch4_fall = 0;
                    __enable_irq();
                }
            }

            // CH 3: Urgent Stop
            if (htim->Channel == HAL_TIM_ACTIVE_CHANNEL_3) {
				if (g_tim2_ch3_fall == 0) {
						/* Rising edge — record start */
						g_tim2_ch3_rise = HAL_TIM_ReadCapturedValue(htim, TIM_CHANNEL_3);
						__HAL_TIM_SET_CAPTUREPOLARITY(htim, TIM_CHANNEL_3,
													  TIM_INPUTCHANNELPOLARITY_FALLING);
						g_tim2_ch3_fall = 1;
					} else {
						/* Falling edge — measure width */
						uint32_t end   = HAL_TIM_ReadCapturedValue(htim, TIM_CHANNEL_3);
						uint32_t width = (end >= g_tim2_ch3_rise)
										 ? (end - g_tim2_ch3_rise)
										 : (65535 - g_tim2_ch3_rise + end + 1); /* overflow safe */

						g_ustop_us = (width * 125) / 16;
						g_last_pulse_ms = now;
;
						__HAL_TIM_SET_CAPTUREPOLARITY(htim, TIM_CHANNEL_3,
													  TIM_INPUTCHANNELPOLARITY_RISING);
						g_tim2_ch3_fall = 0;
					}
            	}
        }
}

void HAL_SYSTICK_Callback(void) {
    //Drive_Tick(g_target_current, g_target_speed, g_command);
}

void HAL_FDCAN_RxFifo0MsgPendingCallback(FDCAN_HandleTypeDef *hfdcan) {
	rx_frame_count++;
    FDCAN_RxHeaderTypeDef hdr;
    uint8_t data[8];
    while (HAL_FDCAN_GetRxMessage(hfdcan, FDCAN_RX_FIFO0, &hdr, data) == HAL_OK)
    {
        Drive_ProcessRx(&hdr, data);
    }
}

void HAL_FDCAN_RxFifo1MsgPendingCallback(FDCAN_HandleTypeDef *hfdcan) {
    FDCAN_RxHeaderTypeDef hdr;
    uint8_t data[8];
    while (HAL_FDCAN_GetRxMessage(hfdcan, FDCAN_RX_FIFO1, &hdr, data) == HAL_OK)
    {
        Drive_ProcessRx(&hdr, data);
    }
}

void HAL_FDCAN_ErrorStatusCallback(FDCAN_HandleTypeDef *hfdcan, uint32_t ErrorStatusITs) {
    if (ErrorStatusITs & FDCAN_IT_BUS_OFF)
    {
        HAL_FDCAN_Stop(hfdcan);
        Drive_Init(hfdcan, MCU_ADDRESS_DEFAULT);
    }
}

void HAL_UART_RxCpltCallback(UART_HandleTypeDef *huart) {
	if (huart->Instance == LPUART1) {
		uint8_t b = jetson_rx_byte;

		Jetson_ProcessByte(b);

		HAL_UART_Receive_IT(&hlpuart1, &jetson_rx_byte, 1);
	}
}

void HAL_UART_ErrorCallback(UART_HandleTypeDef *huart)
{
    if (huart->Instance == LPUART1)
    {
        /*
         * Recover from noise, framing, or overrun errors.
         */
        HAL_UART_AbortReceive_IT(&hlpuart1);

        /*
         * Restart reception.
         */
        HAL_UART_Receive_IT(&hlpuart1, &jetson_rx_byte, 1);
    }
}

static bool UpdateJetsonCommands()
{
    JetsonCommand_t cmd;

    if (!Jetson_CommandAllowAutonomous())
    {
        g_autonomous_throttle_us = 1500;
        g_autonomous_steering_us = 1500;
        return false;
    }

    if (!Jetson_GetLatestCommand(&cmd))
    {
        g_autonomous_throttle_us = 1500;
        g_autonomous_steering_us = 1500;
        return false;
    }

    g_autonomous_throttle_us = cmd.throttle;
    g_autonomous_steering_us = cmd.steering;

    return true;
}
/* USER CODE END 4 */

void Error_Handler(void)
{
  __disable_irq();
  while (1)
  {
  }
}
